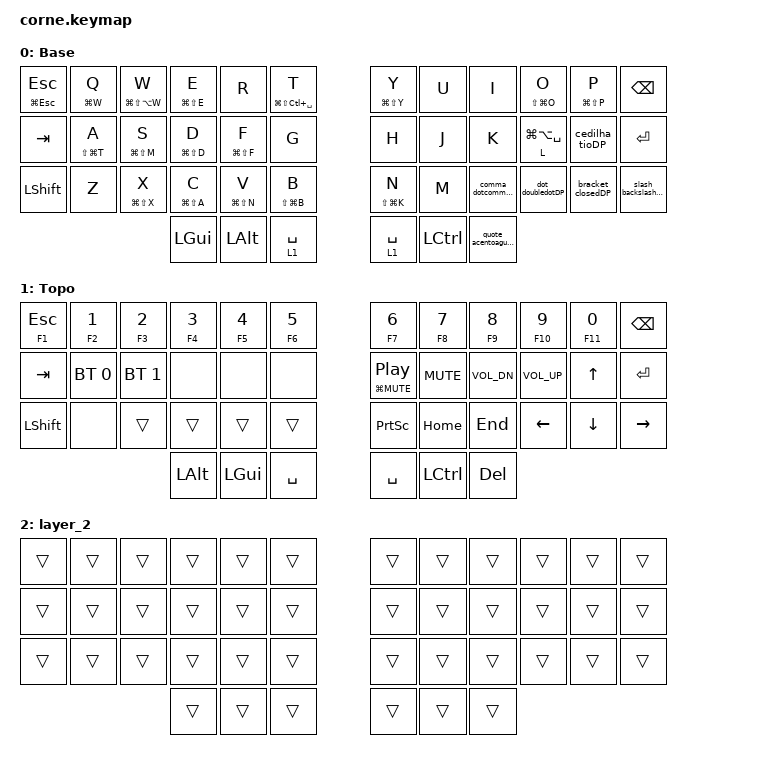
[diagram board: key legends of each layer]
/*
 * Copyright (c) 2020 The ZMK Contributors
 *
 * SPDX-License-Identifier: MIT
 */

#include <behaviors.dtsi>
#include <dt-bindings/zmk/bt.h>
#include <dt-bindings/zmk/keys.h>

/ {
    combos {
        compatible = "zmk,combos";

        GoToWindows {
            bindings = <&Switch_Linux_Win 0 2>;
            key-positions = <38 39>;
        };

        menos_i_o {
            bindings = <&kp MINUS>;
            key-positions = <8 9>;
        };

        igual_O_P {
            bindings = <&kp EQUAL>;
            key-positions = <9 10>;
        };
    };

    behaviors {
        longpress: longpress {
            compatible = "zmk,behavior-hold-tap";
            label = "LONGPRESS";
            bindings = <&kp>, <&kp>;

            #binding-cells = <2>;
            tapping-term-ms = <350>;
            flavor = "tap-preferred";
        };

        dot_doubledotDP: dot_doubledotDP {
            compatible = "zmk,behavior-tap-dance";
            label = "DOT_DOUBLEDOTDP";
            #binding-cells = <0>;
            bindings = <&kp DOT>, <&kp LS(SLASH)>;
        };

        comma_dotcommaDP: comma_dotcommaDP {
            compatible = "zmk,behavior-tap-dance";
            label = "COMMA_DOTCOMMADP";
            #binding-cells = <0>;
            bindings = <&kp COMMA>, <&kp SLASH>;
        };

        slash_backslashDP: slash_backslashDP {
            compatible = "zmk,behavior-tap-dance";
            label = "SLASH_BACKSLASHDP";
            #binding-cells = <0>;
            bindings = <&kp RA(Q)>, <&kp RA(W)>, <&kp NON_US_BACKSLASH>;
        };

        bracket_closedDP: bracket_closedDP {
            compatible = "zmk,behavior-tap-dance";
            label = "BRACKET_CLOSEDDP";
            #binding-cells = <0>;
            bindings = <&kp RIGHT_BRACKET>, <&kp BACKSLASH>;
        };

        cedilha_tioDP: cedilha_tioDP {
            compatible = "zmk,behavior-tap-dance";
            label = "CEDILHA_TIODP";
            #binding-cells = <0>;
            bindings = <&kp SINGLE_QUOTE>, <&kp SEMI>;
        };

        Switch_Linux_Win: Switch_Linux_Win {
            compatible = "zmk,behavior-hold-tap";
            label = "SWITCH_LINUX_WIN";
            bindings = <&to>, <&to>;

            #binding-cells = <2>;
            tapping-term-ms = <3000>;
            flavor = "tap-preferred";
        };

        quote_acentoagudoDP: quote_acentoagudoDP {
            compatible = "zmk,behavior-tap-dance";
            label = "QUOTE_ACENTOAGUDODP";
            #binding-cells = <0>;
            bindings = <&kp GRAVE>, <&kp LEFT_BRACKET>;
        };
    };

    keymap {
        compatible = "zmk,keymap";

        Linux {
            // -----------------------------------------------------------------------------------------
            // |  TAB |  Q  |  W  |  E  |  R  |  T  |   |  Y  |  U   |  I  |  O  |  P  | BKSP |
            // | CTRL |  A  |  S  |  D  |  F  |  G  |   |  H  |  J   |  K  |  L  |  ;  |  '   |
            // | SHFT |  Z  |  X  |  C  |  V  |  B  |   |  N  |  M   |  ,  |  .  |  /  | ESC  |
            //                    | GUI | LWR | SPC |   | ENT | RSE  | ALT |

            display-name = "Base";
            bindings = <
&longpress LG(ESCAPE) ESCAPE  &longpress LG(W) Q      &longpress LG(LS(LA(W))) W  &longpress LG(LS(E)) E  &kp R                   &longpress LG(LS(LC(SPACE))) T    &longpress LG(LS(Y)) Y  &kp U             &kp I                 &longpress LS(LG(O)) O      &longpress LG(LS(P)) P  &kp BSPC
&kp TAB                       &longpress LS(LG(T)) A  &longpress LG(LS(M)) S      &longpress LG(LS(D)) D  &longpress LG(LS(F)) F  &kp G                             &kp H                   &kp J             &kp K                 &longpress L LG(LA(SPACE))  &cedilha_tioDP          &kp ENTER
&kp LSHFT                     &kp Z                   &longpress LG(LS(X)) X      &longpress LG(LS(A)) C  &longpress LG(LS(N)) V  &longpress LS(LG(B)) B            &longpress LS(LG(K)) N  &kp M             &comma_dotcommaDP     &dot_doubledotDP            &bracket_closedDP       &slash_backslashDP
                                                                                  &kp LEFT_GUI            &kp LEFT_ALT            &lt 1 SPACE                       &lt 1 SPACE             &kp LEFT_CONTROL  &quote_acentoagudoDP
            >;
        };

        inux {
            // -----------------------------------------------------------------------------------------
            // |  TAB |  1  |  2  |  3  |  4  |  5  |   |  6  |  7  |  8  |  9  |  0  | BKSP |
            // | BTCLR| BT1 | BT2 | BT3 | BT4 | BT5 |   | LFT | DWN |  UP | RGT |     |      |
            // | SHFT |     |     |     |     |     |   |     |     |     |     |     |      |
            //                    | GUI |     | SPC |   | ENT |     | ALT |

            display-name = "Topo";
            bindings = <
&longpress F1 ESCAPE  &longpress F2 NUMBER_1  &longpress F3 NUMBER_2  &longpress F4 NUMBER_3  &longpress F5 NUMBER_4  &longpress F6 N5    &longpress F7 NUMBER_6              &longpress F8 N7  &longpress F9 N8  &longpress F10 N9  &longpress F11 N0  &kp BACKSPACE
&kp TAB               &bt BT_SEL 0            &bt BT_SEL 1            &none                   &none                   &none               &longpress LG(C_MUTE) C_PLAY_PAUSE  &kp K_MUTE        &kp C_VOL_DN      &kp C_VOL_UP       &kp UP_ARROW       &kp ENTER
&kp LSHFT             &none                   &trans                  &trans                  &trans                  &trans              &kp PRINTSCREEN                     &kp HOME          &kp END           &kp LEFT_ARROW     &kp DOWN_ARROW     &kp RIGHT
                                                                      &kp LEFT_ALT            &kp LEFT_GUI            &kp SPACE           &kp SPACE                           &kp LEFT_CONTROL  &kp DEL
            >;
        };

        layer_2 {
            bindings = <
&trans  &trans  &trans  &trans  &trans  &trans    &trans  &trans  &trans  &trans  &trans  &trans
&trans  &trans  &trans  &trans  &trans  &trans    &trans  &trans  &trans  &trans  &trans  &trans
&trans  &trans  &trans  &trans  &trans  &trans    &trans  &trans  &trans  &trans  &trans  &trans
                        &trans  &trans  &trans    &trans  &trans  &trans
            >;
        };
    };
};
